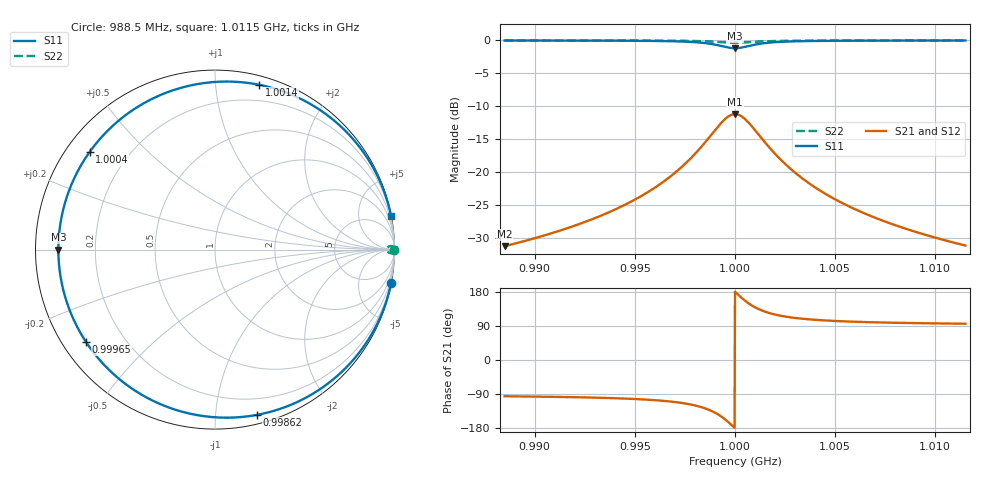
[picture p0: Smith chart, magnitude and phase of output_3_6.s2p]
! File generated for n1 = 3, n2 = 6
! b1 = 21.544347
! b2 = 0.464159
! Q0 = 10000.000000
! f0 = 1000000000.000000
! n = 1001
! rel_span = 10.000000
# Hz S RI R 50
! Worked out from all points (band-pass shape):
!   1001 points, 988.5 MHz to 1.0115 GHz, reference 50 ohm
!   highest |S21| = -11.22 dB at 1 GHz (marker M1); lowest = -31.3 dB at 988.5 MHz (marker M2)
!   |S21| within 3 dB of the highest: 998.853 MHz to 1.001148 GHz (2.295 MHz wide, 0.23 % of centre)
!   lowest |S11| = -1.2 dB at 1 GHz (marker M3), VSWR 14.71, Z = 3.4 + j0 ohm
!   |S11| at or under -10 dB: nowhere
!   |S22| runs from -0.4 to 0.0 dB; largest |S21 - S12| = 0
!   S11 on the Smith chart (normalised r, x): 988.5 MHz: 0, -11; 998.62 MHz: 0.07, -1.28; 999.65 MHz: 0.07, -0.32; 1.0004 GHz: 0.07, +0.34; 1.0014 GHz: 0.07, +1.30; 1.0115 GHz: 0, +11
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9.884957e8  0.9817 -0.1844  -0.00269 -0.0271  -0.00269 -0.0271  0.9996 -0.00397
9.923382e8  0.959 -0.274  -0.00602 -0.0402  -0.00602 -0.0402  0.9991 -0.0059
9.94524e8  0.9213 -0.3759  -0.0116 -0.0552  -0.0116 -0.0552  0.9983 -0.0081
9.961806e8  0.8448 -0.5163  -0.0228 -0.0758  -0.0228 -0.0758  0.9967 -0.0111
9.976531e8  0.6379 -0.7396  -0.0532 -0.1086  -0.0532 -0.1086  0.9922 -0.0159
9.981823e8  0.4651 -0.8459  -0.0785 -0.1242  -0.0785 -0.1242  0.9885 -0.0182
9.986195e8  0.2331 -0.9209  -0.1126 -0.1352  -0.1126 -0.1352  0.9835 -0.0198
9.991947e8  -0.2565 -0.8799  -0.1844 -0.1292  -0.1844 -0.1292  0.9729 -0.019
9.994248e8  -0.498 -0.7492  -0.2199 -0.11  -0.2199 -0.11  0.9677 -0.0161
9.996549e8  -0.7181 -0.5155  -0.2522 -0.0757  -0.2522 -0.0757  0.963 -0.0111
1e9  -0.8727 0  -0.2749 0  -0.2749 0  0.9597 0
1.000184e9  -0.826 0.2921  -0.268 0.0429  -0.268 0.0429  0.9607 0.00629
1.000368e9  -0.6988 0.5435  -0.2494 0.0798  -0.2494 0.0798  0.9634 0.0117
1.000575e9  -0.4984 0.749  -0.2199 0.1099  -0.2199 0.1099  0.9677 0.0161
1.000805e9  -0.2572 0.8797  -0.1845 0.1291  -0.1845 0.1291  0.9729 0.019
1.001058e9  -0.0148 0.9331  -0.1489 0.137  -0.1489 0.137  0.9781 0.0201
1.001404e9  0.2468 0.9183  -0.1106 0.1348  -0.1106 0.1348  0.9838 0.0198
1.001841e9  0.4733 0.842  -0.0773 0.1236  -0.0773 0.1236  0.9887 0.0181
1.00237e9  0.6422 0.7363  -0.0525 0.1081  -0.0525 0.1081  0.9923 0.0159
1.003842e9  0.8454 0.5154  -0.0227 0.0756  -0.0227 0.0756  0.9967 0.0111
1.007685e9  0.9586 0.2752  -0.00607 0.0404  -0.00607 0.0404  0.9991 0.00593
1.011504e9  0.9812 0.1865  -0.00275 0.0274  -0.00275 0.0274  0.9996 0.00402
